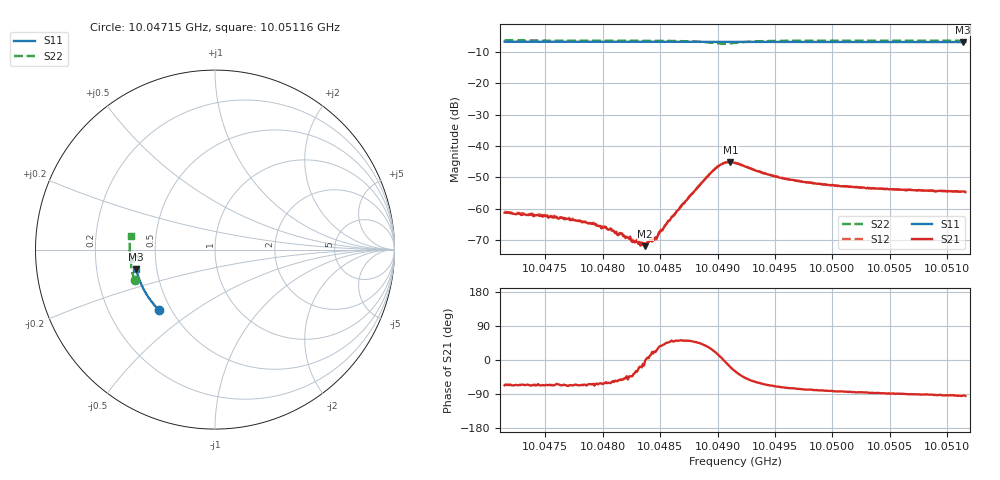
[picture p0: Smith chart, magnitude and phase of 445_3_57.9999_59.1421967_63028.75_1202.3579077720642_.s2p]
#  HZ  S  RI  R  50.00
! Rohde & Schwarz Vector Network Analyzer
! Rohde-Schwarz,ZNB20-2Port,1311601062101988,3.16
! Created: UTC 3/21/2024, 1:10:14 AM
! freq[Hz]  re:S11  im:S11  re:S21  im:S21  re:S12  im:S12  re:S22  im:S22
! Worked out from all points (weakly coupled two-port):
!   401 points, 10.04715 GHz to 10.05116 GHz, reference 50 ohm
!   highest |S21| = -45.13 dB at 10.04911 GHz (marker M1); lowest = -71.9 dB at 10.04837 GHz (marker M2)
!   lowest |S11| = -6.9 dB at 10.05114 GHz (marker M3), VSWR 2.65, Z = 19.1 - j5.29 ohm
!   |S11| at or under -10 dB: nowhere
!   |S22| runs from -7.4 to -6.4 dB; largest |S21 - S12| = 0.00041
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1.0047145e10  -0.3127 -0.3362  0.000342 -0.000797  0.00044 -0.000792  -0.4479 -0.1714
1.0047566e10  -0.3319 -0.316  0.000278 -0.000667  0.000349 -0.000672  -0.4566 -0.144
1.0047817e10  -0.3427 -0.3034  0.000263 -0.000576  0.000301 -0.00053  -0.4609 -0.1269
1.0047867e10  -0.3448 -0.3008  0.000251 -0.00054  0.000295 -0.000545  -0.4617 -0.1235
1.0048048e10  -0.3522 -0.2914  0.000231 -0.000403  0.000266 -0.000397  -0.4642 -0.1108
1.0048118e10  -0.355 -0.2879  0.000244 -0.000356  0.000267 -0.000342  -0.4651 -0.1056
1.0048169e10  -0.3571 -0.2853  0.000245 -0.000321  0.000296 -0.000264  -0.4657 -0.1018
1.0048269e10  -0.3609 -0.28  0.000247 -0.000182  0.000259 -0.000178  -0.4667 -0.0943
1.0048369e10  -0.3648 -0.2746  0.000254 -4.89e-06  0.000259 -1.5e-05  -0.4671 -0.0864
1.0048449e10  -0.3678 -0.2702  0.000309 0.000129  0.000306 0.000156  -0.4675 -0.0797
1.004849e10  -0.3693 -0.2681  0.000338 0.000232  0.000324 0.000274  -0.4675 -0.0764
1.004868e10  -0.3764 -0.2576  0.000676 0.000871  0.000591 0.000885  -0.465 -0.0584
1.0048951e10  -0.3854 -0.2424  0.00345 0.00179  0.00335 0.002  -0.4388 -0.0357
1.0049031e10  -0.3877 -0.2378  0.00506 0.00055  0.00506 0.000839  -0.4251 -0.0449
1.0049112e10  -0.3904 -0.2334  0.00524 -0.00179  0.00536 -0.00143  -0.4271 -0.0622
1.0049152e10  -0.3917 -0.2313  0.00468 -0.00266  0.00488 -0.00239  -0.4338 -0.0674
1.0049483e10  -0.4021 -0.2122  0.00123 -0.00309  0.00141 -0.00306  -0.469 -0.0454
1.0049824e10  -0.4116 -0.1919  0.000501 -0.00252  0.000646 -0.00251  -0.4751 -0.0164
1.0050035e10  -0.417 -0.1792  0.000294 -0.00232  0.000451 -0.00233  -0.476 -0.000236
1.0050497e10  -0.4272 -0.1506  3.96e-05 -0.00204  0.0002 -0.00204  -0.4754 0.0325
1.0051139e10  -0.4384 -0.1102  -0.000115 -0.00189  -6.49e-05 -0.00188  -0.4701 0.076
1.0051159e10  -0.4389 -0.109  -0.000155 -0.00184  -2.58e-05 -0.00187  -0.4698 0.0774
